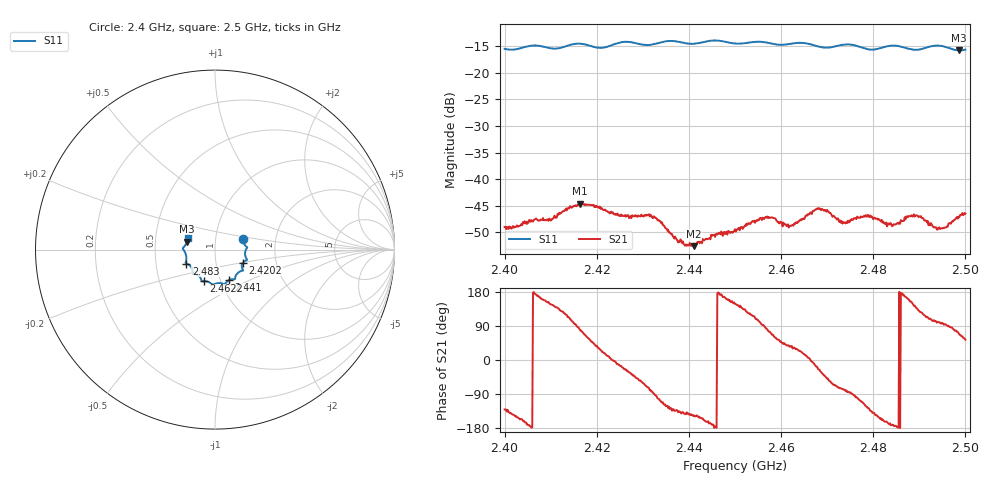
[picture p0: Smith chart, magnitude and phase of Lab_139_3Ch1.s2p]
# Hz S RI R 50
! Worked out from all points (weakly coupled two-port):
!   601 points, 2.4 GHz to 2.5 GHz, reference 50 ohm
!   highest |S21| = -44.59 dB at 2.4163 GHz (marker M1); lowest = -52.6 dB at 2.441 GHz (marker M2)
!   lowest |S11| = -15.8 dB at 2.4987 GHz (marker M3), VSWR 1.39, Z = 36.4 + j3.29 ohm
!   |S11| at or under -10 dB: start of sweep to end of sweep
!   S12 and S22 are empty: the file has one direction only
!   S11 on the Smith chart (normalised r, x): 2.4 GHz: 1.36, +0.17; 2.4202 GHz: 1.35, -0.20; 2.441 GHz: 1.10, -0.39; 2.4622 GHz: 0.83, -0.30; 2.483 GHz: 0.72, -0.12; 2.5 GHz: 0.73, +0.09
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2.4e9  0.1563 0.0604  -0.00232 -0.00271  0 0  0 0
2.41e9  0.1696 -0.00749  -0.00341 0.00225  0 0  0 0
2.416333e9  0.1785 -0.0578  0.00103 0.0058  0 0  0 0
2.416667e9  0.1778 -0.0583  0.00131 0.00569  0 0  0 0
2.420167e9  0.1562 -0.072  0.00461 0.00298  0 0  0 0
2.426e9  0.157 -0.1158  0.00409 -0.00189  0 0  0 0
2.433333e9  0.1129 -0.1524  -0.000856 -0.00399  0 0  0 0
2.437333e9  0.1067 -0.1653  -0.00182 -0.00203  0 0  0 0
2.441e9  0.0769 -0.1704  -0.00194 -0.00132  0 0  0 0
2.45e9  0.0266 -0.1864  -0.00288 0.00179  0 0  0 0
2.457e9  -0.0185 -0.1908  0.000702 0.0044  0 0  0 0
2.462167e9  -0.063 -0.1763  0.00297 0.00211  0 0  0 0
2.466667e9  -0.0765 -0.1671  0.0047 -0.000338  0 0  0 0
2.4695e9  -0.0921 -0.1453  0.00383 -0.00345  0 0  0 0
2.4735e9  -0.123 -0.1362  0.000833 -0.00385  0 0  0 0
2.478833e9  -0.129 -0.1048  -0.00277 -0.0037  0 0  0 0
2.483e9  -0.159 -0.078  -0.00346 -0.000993  0 0  0 0
2.483333e9  -0.1607 -0.0773  -0.00375 -0.000787  0 0  0 0
2.489167e9  -0.1607 -0.0329  -0.00348 0.00291  0 0  0 0
2.494333e9  -0.1795 0.00803  -0.000552 0.00348  0 0  0 0
2.498667e9  -0.1558 0.044  0.00166 0.00406  0 0  0 0
2.5e9  -0.1526 0.0627  0.00282 0.00382  0 0  0 0
